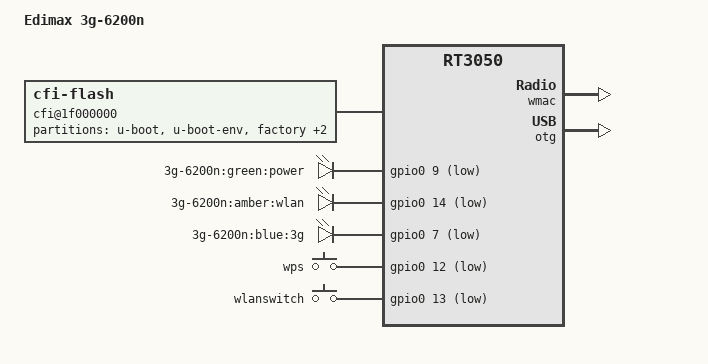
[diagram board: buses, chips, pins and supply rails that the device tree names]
/dts-v1/;

#include "rt3050.dtsi"

/ {
	compatible = "3G-6200N", "ralink,rt3050-soc";
	model = "Edimax 3g-6200n";

	cfi@1f000000 {
		compatible = "cfi-flash";
		reg = <0x1f000000 0x800000>;
		bank-width = <2>;
		device-width = <2>;
		#address-cells = <1>;
		#size-cells = <1>;

		partition@0 {
			label = "u-boot";
			reg = <0x0 0x30000>;
			read-only;
		};

		partition@30000 {
			label = "u-boot-env";
			reg = <0x30000 0x10000>;
			read-only;
		};

		factory: partition@40000 {
			label = "factory";
			reg = <0x40000 0x10000>;
			read-only;
		};

		partition@3e0000 {
			label = "cimage";
			reg = <0x3e0000 0x20000>;
			read-only;
		};

		partition@50000 {
			label = "firmware";
			reg = <0x50000 0x390000>;
		};
	};

	gpio-leds {
		compatible = "gpio-leds";

		power {
			label = "3g-6200n:green:power";
			gpios = <&gpio0 9 1>;
		};

		wlan {
			label = "3g-6200n:amber:wlan";
			gpios = <&gpio0 14 1>;
		};

		3g {
			label = "3g-6200n:blue:3g";
			gpios = <&gpio0 7 1>;
		};
	};

	gpio-keys-polled {
		compatible = "gpio-keys-polled";
		#address-cells = <1>;
		#size-cells = <0>;
		poll-interval = <20>;

		wps {
			label = "wps";
			gpios = <&gpio0 12 1>;
			linux,code = <0x211>;
		};

		wlanswitch {
			label = "wlanswitch";
			gpios = <&gpio0 13 1>;
			linux,code = <0x100>;
		};
	};
};

&pinctrl {
	state_default: pinctrl0 {
		gpio {
			ralink,group = "spi", "i2c", "jtag", "rgmii", "mdio", "uartf";
			ralink,function = "gpio";
		};
	};
};

&ethernet {
	mtd-mac-address = <&factory 0x4>;
};

&esw {
	mediatek,portmap = <0x2f>;
};

&wmac {
	ralink,mtd-eeprom = <&factory 0>;
};

&otg {
	status = "okay";
};
